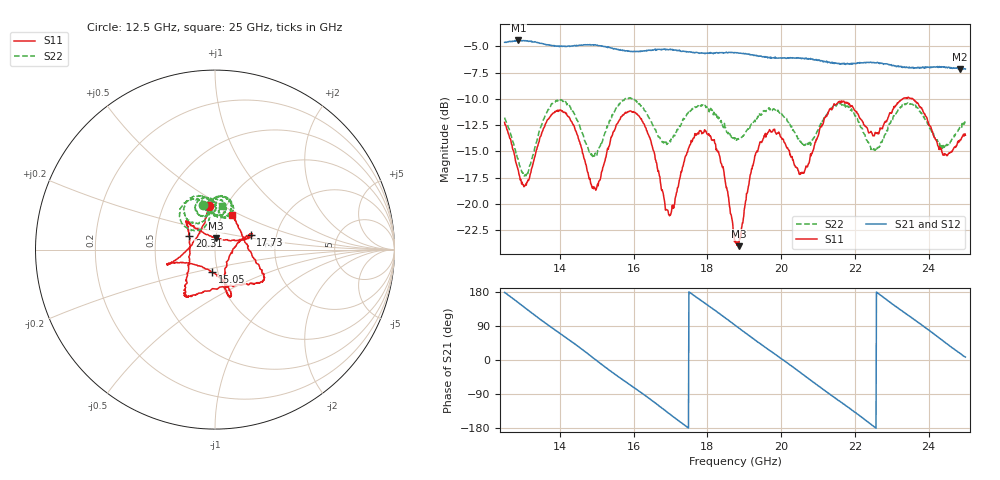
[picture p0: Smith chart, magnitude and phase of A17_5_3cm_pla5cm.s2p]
!Keysight Technologies N9950B: A.12.38
!Date: Monday, 17 April 2023 21:16:36
!Timezone: (UTC-06:00) Central Time (US & Canada)
!Model: N9950B
!Serial: MY61131330
!GPS Latitude:
!GPS Longitude:
!GPS TimeStamp: 0001-01-01 00:00:00Z
!GPS Seconds Since Last Read: 0
!CHECKSUM:1500068730
!Correction: S11(ON U)S21(ON U)S12(ON U)S22(ON U)
!S2P File: Measurements:S11,S21,S12,S22:
# Hz S DB R 50
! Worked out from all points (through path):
!   1001 points, 12.5 GHz to 25 GHz, reference 50 ohm
!   highest |S21| = -4.44 dB at 12.88 GHz (marker M1); lowest = -7.2 dB at 24.85 GHz (marker M2)
!   group delay of S21, straight-line fit = 198 ps
!   lowest |S11| = -24.0 dB at 18.85 GHz (marker M3), VSWR 1.13, Z = 50 + j6.32 ohm
!   |S11| at or under -10 dB: start of sweep to 23.3 GHz; 23.57 GHz to end of sweep
!   |S22| runs from -17.3 to -9.9 dB; largest |S21 - S12| = 0.01
!   S11 on the Smith chart (normalised r, x): 12.5 GHz: 0.83, +0.43; 15.05 GHz: 0.94, -0.24; 17.73 GHz: 1.47, +0.26; 20.31 GHz: 0.74, +0.11; 25 GHz: 1.11, +0.45
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1.25e10  -12.23 98.4  -4.62 178.5  -4.58 178.3  -11.78 104.4
1.2875e10  -16.85 120.7  -4.44 150.9  -4.45 150.9  -15.94 103.2
1.31e10  -17.95 157.8  -4.48 134.3  -4.47 134.1  -17.08 126.6
1.36625e10  -11.98 -163.7  -4.87 93.6  -4.84 93.5  -11.18 135.4
1.45875e10  -14.70 -156.2  -4.88 29.1  -4.87 28.9  -13.08 100.7
1.505e10  -17.90 -97.6  -4.94 -5.5  -4.90 -5.5  -14.83 126.9
1.58875e10  -11.17 -71.1  -5.47 -64.7  -5.49 -65.0  -9.91 112.4
1.6675e10  -16.83 -66.1  -5.29 -120.1  -5.30 -120.3  -13.63 97.0
1.7e10  -21.04 -17.7  -5.32 -143.9  -5.30 -144.3  -14.09 110.6
1.7725e10  -13.30 22.5  -5.59 164.0  -5.54 163.9  -10.73 106.3
1.825e10  -14.75 19.3  -5.59 127.8  -5.54 127.7  -11.56 90.4
1.875e10  -23.44 57.9  -5.60 91.8  -5.59 91.7  -13.70 94.0
1.885e10  -24.00 86.3  -5.65 84.6  -5.62 84.4  -13.83 97.7
1.94875e10  -14.04 134.1  -6.00 39.0  -5.98 38.8  -11.43 97.1
2.03125e10  -15.80 152.4  -6.08 -17.5  -6.13 -17.9  -12.99 74.2
2.08375e10  -15.21 -147.5  -6.23 -55.8  -6.23 -56.1  -13.94 93.2
2.175e10  -10.32 -120.7  -6.73 -120.0  -6.61 -120.0  -10.78 77.1
2.25e10  -13.51 -81.9  -6.55 -174.4  -6.52 -174.7  -14.83 79.0
2.2925e10  -11.57 -46.7  -6.71 154.4  -6.74 154.3  -12.55 97.1
2.39125e10  -11.58 -20.7  -6.95 85.7  -6.98 85.6  -12.04 65.6
2.485e10  -13.90 56.9  -7.17 18.1  -7.20 17.6  -12.64 83.3
2.5e10  -13.45 64.3  -7.16 7.7  -7.21 7.2  -12.15 80.8
